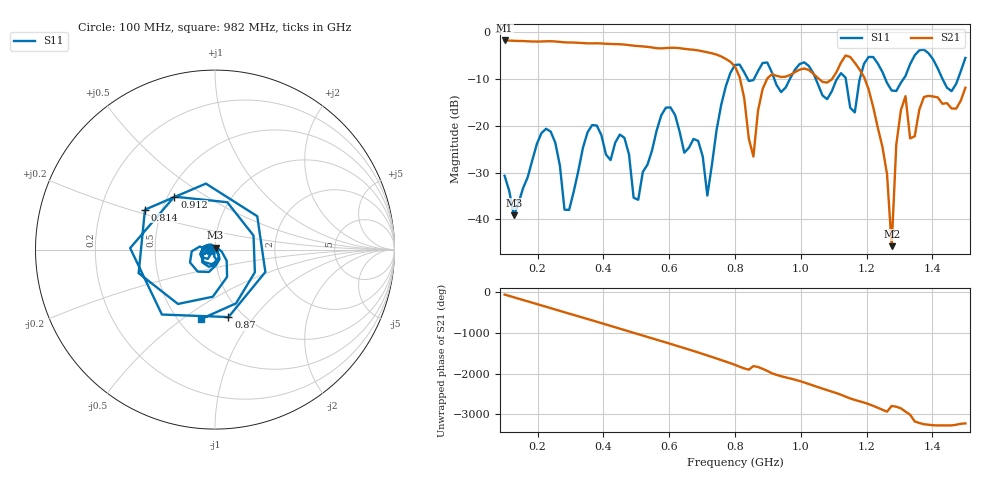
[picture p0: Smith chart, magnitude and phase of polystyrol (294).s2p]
! NanoVNA-App
! Date: 2025-09-25 15:32:10
! Start: 100MHz Stop: 1,5GHz Points: 101
! S-Parameter data: F S11 S21 S12 S22
# Hz S RI R 50
!  Frequency  S11_Real  S11_Imag  S21_Real  S21_Imag  S12_Real  S12_Imag  S22_Real  S22_Imag
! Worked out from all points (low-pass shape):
!   101 points, 100 MHz to 1.5 GHz, reference 50 ohm
!   highest |S21| = -1.80 dB at 100 MHz (marker M1); lowest = -45.7 dB at 1.276 GHz (marker M2)
!   |S21| within 3 dB of the highest: start of sweep to 743.1 MHz
!   lowest |S11| = -39.1 dB at 128 MHz (marker M3), VSWR 1.02, Z = 50.3 + j1.06 ohm
!   |S11| at or under -10 dB: start of sweep to 779.8 MHz; 1.045 GHz to 1.11 GHz (65.01 MHz wide, 6.03 % of centre); 1.257 GHz to 1.312 GHz (55.37 MHz wide, 4.31 % of centre) (the widest 3 of 7)
!   S12 and S22 are empty: the file has one direction only
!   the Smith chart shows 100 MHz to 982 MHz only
!   S11 on the Smith chart (normalised r, x): 100 MHz: 0.94, -0.01; 814 MHz: 0.40, +0.22; 870 MHz: 0.86, -0.75; 912 MHz: 0.54, +0.37; 982 MHz: 0.64, -0.59
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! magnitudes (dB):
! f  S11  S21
! 100 MHz  -30.7  -1.8
! 128 MHz  -39.1  -1.9
! 212 MHz  -21.6  -2.0
! 282 MHz  -37.9  -2.2
! 338 MHz  -24.7  -2.4
! 464 MHz  -22.6  -2.7
! 506 MHz  -35.8  -3.0
! 576 MHz  -17.8  -3.5
! 716 MHz  -34.9  -4.3
! 800 MHz  -7.0  -7.4
! 814 MHz  -7.0  -9.6
! 856 MHz  -10.3  -26.6
! 870 MHz  -8.3  -16.8
! 912 MHz  -8.6  -9.0
! 982 MHz  -8.1  -8.6
! 1.038 GHz  -8.8  -8.9
! 1.164 GHz  -17.2  -6.6
! 1.192 GHz  -6.8  -9.6
! 1.276 GHz  -12.5  -45.7
! 1.29 GHz  -12.6  -24.1
! 1.318 GHz  -9.4  -13.7
! 1.5 GHz  -5.5  -11.9
